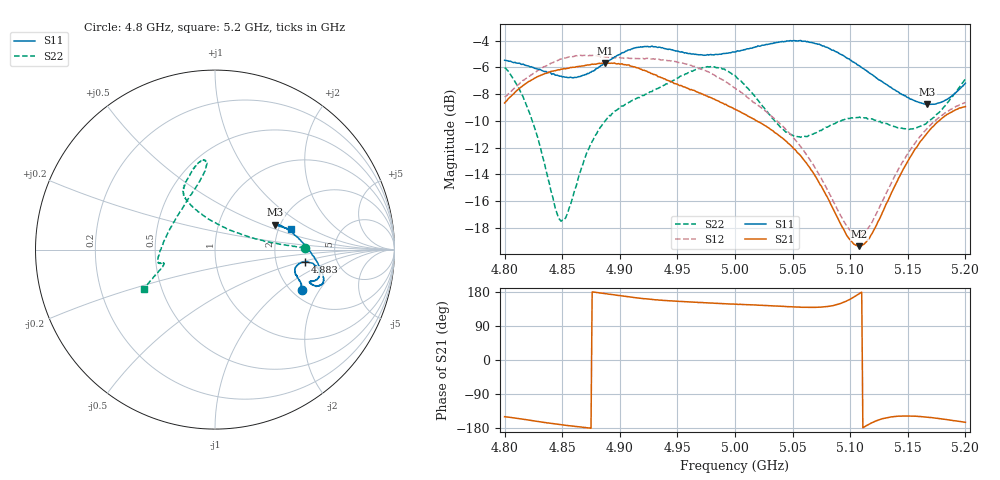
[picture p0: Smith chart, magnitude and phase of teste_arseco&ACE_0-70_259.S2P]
! Network Analyzer HP8722D
! Hewlett-Packard
! Data name: Linha & Wilkinson
! Saver's name: Rodrigo Anjos
! Comments: Teste da utilização de aquisição
! continua pelo VNA HP8722D
! Time and date: 8/5/2025 14:55
!  Frequency  S11  S21  S12  S22
# HZ  S  MA R 50
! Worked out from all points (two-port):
!   401 points, 4.8 GHz to 5.2 GHz, reference 50 ohm
!   highest |S21| = -5.67 dB at 4.887 GHz (marker M1); lowest = -19.4 dB at 5.108 GHz (marker M2)
!   |S21| within 3 dB of the highest: start of sweep to 4.989 GHz
!   lowest |S11| = -8.8 dB at 5.167 GHz (marker M3), VSWR 2.14, Z = 94.2 + j30.4 ohm
!   |S11| at or under -10 dB: nowhere
!   |S22| runs from -17.5 to -6.0 dB; largest |S21 - S12| = 1.1
!   S11 on the Smith chart (normalised r, x): 4.8 GHz: 2.24, -1.42; 4.883 GHz: 2.93, -0.55; 5.2 GHz: 2.34, +0.65
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4.8e9  0.5323 -25.1  0.3685 -149.6  0.3885 9.7  0.5001 1.3
4.811e9  0.5197 -22.5  0.4116 -154.1  0.4288 8.3  0.4281 2.8
4.822e9  0.5026 -20.5  0.4448 -159.0  0.4655 6.5  0.3353 6.0
4.848e9  0.4641 -16.1  0.4903 -170.3  0.5371 2.3  0.135 56.9
4.854e9  0.4595 -14.4  0.496 -172.7  0.5448 1.5  0.1406 81.6
4.867e9  0.4658 -11.1  0.507 -177.2  0.5541 -0.3  0.2124 110.8
4.883e9  0.5056 -8.0  0.5175 176.9  0.5504 -1.8  0.2987 119.2
4.887e9  0.5184 -7.8  0.5204 175.2  0.549 -1.6  0.3143 119.8
4.912e9  0.5908 -11.0  0.503 164.9  0.541 -1.1  0.3768 117.9
4.934e9  0.5963 -15.5  0.4617 158.0  0.5372 -2.0  0.42 111.8
4.974e9  0.556 -18.8  0.3944 151.1  0.4872 -5.7  0.5004 98.7
5e9  0.5725 -19.7  0.3495 147.3  0.4198 -5.7  0.4672 96.1
5.044e9  0.626 -17.9  0.2661 141.0  0.2936 2.5  0.2869 131.8
5.067e9  0.6195 -13.6  0.205 138.8  0.22 9.1  0.2811 164.9
5.096e9  0.5466 -3.5  0.1201 154.5  0.1298 34.9  0.3208 -171.6
5.108e9  0.5078 2.2  0.1075 175.4  0.1181 58.1  0.3265 -168.0
5.118e9  0.4728 7.0  0.1181 -166.8  0.1302 77.2  0.3214 -166.3
5.134e9  0.4244 14.7  0.1634 -150.9  0.1792 94.7  0.305 -165.7
5.153e9  0.3808 21.5  0.2345 -147.9  0.2495 100.9  0.2946 -164.3
5.167e9  0.3641 22.6  0.2851 -151.0  0.2965 101.7  0.3128 -161.3
5.182e9  0.3765 20.7  0.3293 -156.4  0.3376 101.8  0.3584 -157.0
5.2e9  0.4371 14.9  0.3573 -164.4  0.3703 102.2  0.4526 -150.8
